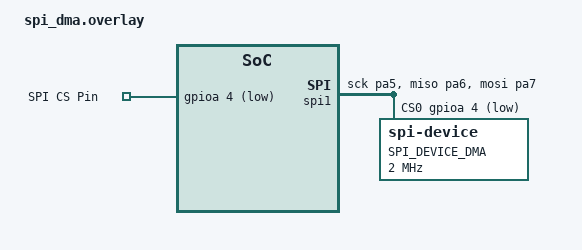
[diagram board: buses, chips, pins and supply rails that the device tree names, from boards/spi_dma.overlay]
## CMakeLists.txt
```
cmake_minimum_required(VERSION 3.20.0)
set(DTC_OVERLAY_FILE "boards/spi_dma.overlay")
find_package(Zephyr REQUIRED HINTS $ENV{ZEPHYR_BASE})
project(app_spi_dma)
target_sources(app PRIVATE src/main.c)
target_sources(app PRIVATE driver/src/spi_dma.c)
target_include_directories(app PRIVATE driver/inc)
```

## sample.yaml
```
sample:
  name: SPI with DMA Device Driver Example
  description: Demonstrates high-performance SPI communication using DMA for efficient CPU-offloaded transfers, including synchronous and asynchronous operations with callbacks
tests:
  sample.app.spi_dma:
    tags:
      - spi
      - dma
      - driver
      - communication
      - async
    filter: dt_nodelabel_enabled("spi1") and dt_nodelabel_enabled("dma2")
    depends_on: spi dma
    harness: console
    harness_config:
      type: multi_line
      regex:
        - "SPI DMA initialized successfully"
        - "Sync transfer test passed"
        - "Async transfer completed"
```

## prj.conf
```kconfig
CONFIG_SPI=y
CONFIG_SPI_STM32_DMA=y
CONFIG_DMA=y
CONFIG_LOG=y
CONFIG_PRINTK=y
```

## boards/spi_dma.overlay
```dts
/ {
    aliases {
        myspi = &spi1;
        mycs = &mycs_gpio;
    };

    gpio_cs {
        compatible = "gpio-keys";
        mycs_gpio: mycs {
            gpios = <&gpioa 4 GPIO_ACTIVE_LOW>;
            label = "SPI CS Pin";
        };
    };
};

&spi1 {
    status = "okay";
    pinctrl-0 = <&spi1_sck_pa5 &spi1_miso_pa6 &spi1_mosi_pa7>;
    pinctrl-names = "default";
    cs-gpios = <&gpioa 4 GPIO_ACTIVE_LOW>;

    /* DMA configuration for SPI1 */
    dmas = <&dma2 3 3 0x20440 0x03>,  /* SPI1_TX: DMA2 Stream 3 Channel 3 */
           <&dma2 0 3 0x20480 0x03>;  /* SPI1_RX: DMA2 Stream 0 Channel 3 */
    dma-names = "tx", "rx";

    spi_device: spi-device@0 {
        compatible = "zephyr,spi-device";
        reg = <0>;
        spi-max-frequency = <2000000>; /* 2 MHz */
        label = "SPI_DEVICE_DMA";
    };
};

&dma2 {
    status = "okay";
};
```

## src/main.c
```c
#include <stdint.h>
#include <zephyr/kernel.h>
#include <zephyr/logging/log.h>
#include "spi_dma.h"

LOG_MODULE_REGISTER(app_spi_dma, CONFIG_LOG_MAX_LEVEL);

#define TEST_DATA_SIZE    64    /* Larger buffer to show DMA benefits */
#define LOOP_DELAY_MS     3000

/* Callback flag for async operations */
static volatile bool async_transfer_done = false;
static volatile int async_transfer_status = 0;

/* Async transfer callback */
static void transfer_complete_callback(int status, void *user_data)
{
    async_transfer_done = true;
    async_transfer_status = status;

    if (status == 0) {
        LOG_INF("Async transfer completed successfully via callback");
    } else {
        LOG_ERR("Async transfer failed with status: %d", status);
    }
}

int main(void)
{
    int ret;
    uint8_t tx_buffer[TEST_DATA_SIZE];
    uint8_t rx_buffer[TEST_DATA_SIZE];
    uint8_t test_counter = 0;
    uint32_t start_time, end_time, duration_us;

    LOG_INF("========================================");
    LOG_INF("SPI DMA Device Driver Example Started");
    LOG_INF("========================================");

    /* Initialize SPI DMA device */
    ret = spi_dma_init();
    if (ret < 0) {
        LOG_ERR("Failed to initialize SPI DMA device: %d", ret);
        return ret;
    }

    LOG_INF("SPI DMA initialized successfully");
    LOG_INF("Buffer size: %d bytes", TEST_DATA_SIZE);
    LOG_INF("Starting SPI DMA communication tests...\n");

    while (1) {
        /* Prepare test data */
        for (int i = 0; i < TEST_DATA_SIZE; i++) {
            tx_buffer[i] = test_counter + i;
            rx_buffer[i] = 0x00;  /* Clear receive buffer */
        }

        LOG_INF("========================================");
        LOG_INF("Test iteration: %d", test_counter);
        LOG_INF("========================================");

        /* Test 1: Synchronous SPI DMA Write */
        LOG_INF("\n[Test 1] Synchronous DMA Write Operation");
        LOG_INF("TX Data (first 8 bytes):");
        for (int i = 0; i < 8; i++) {
            LOG_INF("  [%d]: 0x%02X", i, tx_buffer[i]);
        }

        start_time = k_cyc_to_us_floor32(k_cycle_get_32());
        ret = spi_dma_write(tx_buffer, TEST_DATA_SIZE);
        end_time = k_cyc_to_us_floor32(k_cycle_get_32());
        duration_us = end_time - start_time;

        if (ret < 0) {
            LOG_ERR("Sync write test failed: %d", ret);
        } else {
            LOG_INF("Sync write test passed");
            LOG_INF("Transfer time: %u us (%d bytes)", duration_us, TEST_DATA_SIZE);
        }

        k_msleep(200);

        /* Test 2: Synchronous SPI DMA Full-Duplex Transfer */
        LOG_INF("\n[Test 2] Synchronous DMA Full-Duplex Transfer");
        LOG_INF("TX Data (first 8 bytes):");
        for (int i = 0; i < 8; i++) {
            LOG_INF("  [%d]: 0x%02X", i, tx_buffer[i]);
        }

        start_time = k_cyc_to_us_floor32(k_cycle_get_32());
        ret = spi_dma_transfer(tx_buffer, rx_buffer, TEST_DATA_SIZE);
        end_time = k_cyc_to_us_floor32(k_cycle_get_32());
        duration_us = end_time - start_time;

        if (ret < 0) {
            LOG_ERR("Sync transfer test failed: %d", ret);
        } else {
            LOG_INF("Sync transfer test passed");
            LOG_INF("Transfer time: %u us (%d bytes)", duration_us, TEST_DATA_SIZE);

            LOG_INF("RX Data (first 8 bytes):");
            for (int i = 0; i < 8; i++) {
                LOG_INF("  [%d]: 0x%02X", i, rx_buffer[i]);
            }

            /* Verify loopback (if MISO and MOSI are connected) */
            bool loopback_success = true;
            for (int i = 0; i < TEST_DATA_SIZE; i++) {
                if (tx_buffer[i] != rx_buffer[i]) {
                    loopback_success = false;
                    break;
                }
            }

            if (loopback_success) {
                LOG_INF("Loopback verification: PASSED (all %d bytes)", TEST_DATA_SIZE);
            } else {
                LOG_WRN("Loopback verification: FAILED");
                LOG_WRN("(Connect MISO to MOSI for loopback test)");
            }
        }

        k_msleep(200);

        /* Test 3: Asynchronous SPI DMA Transfer with Callback */
        LOG_INF("\n[Test 3] Asynchronous DMA Transfer with Callback");

        /* Clear receive buffer */
        for (int i = 0; i < TEST_DATA_SIZE; i++) {
            rx_buffer[i] = 0x00;
        }

        async_transfer_done = false;
        async_transfer_status = 0;

        LOG_INF("Initiating async transfer...");
        start_time = k_cyc_to_us_floor32(k_cycle_get_32());

        ret = spi_dma_transfer_async(tx_buffer, rx_buffer, TEST_DATA_SIZE,
                                     transfer_complete_callback, NULL);

        if (ret < 0) {
            LOG_ERR("Failed to initiate async transfer: %d", ret);
        } else {
            LOG_INF("Async transfer initiated");
            LOG_INF("Main thread can do other work while DMA transfers data...");

            /* Simulate doing other work */
            for (int i = 0; i < 3; i++) {
                LOG_INF("  Main thread working... (%d/3)", i + 1);
                k_msleep(10);
            }

            /* Wait for completion with timeout */
            int wait_ret = spi_dma_wait_complete(K_MSEC(1000));
            end_time = k_cyc_to_us_floor32(k_cycle_get_32());
            duration_us = end_time - start_time;

            if (wait_ret == 0) {
                LOG_INF("Async transfer completed");
                LOG_INF("Total time (including wait): %u us", duration_us);

                if (async_transfer_status == 0) {
                    LOG_INF("RX Data (first 8 bytes):");
                    for (int i = 0; i < 8; i++) {
                        LOG_INF("  [%d]: 0x%02X", i, rx_buffer[i]);
                    }
                }
            } else {
                LOG_ERR("Async transfer timeout!");
            }
        }

        /* Test 4: Performance comparison info */
        LOG_INF("\n[Performance Info]");
        LOG_INF("DMA allows CPU to perform other tasks during transfer");
        LOG_INF("Especially beneficial for large data transfers");
        LOG_INF("Current transfer size: %d bytes", TEST_DATA_SIZE);

        LOG_INF("\n========================================");
        LOG_INF("Test iteration %d completed\n", test_counter);

        test_counter++;
        k_msleep(LOOP_DELAY_MS);
    }

    return 0;
}
```
